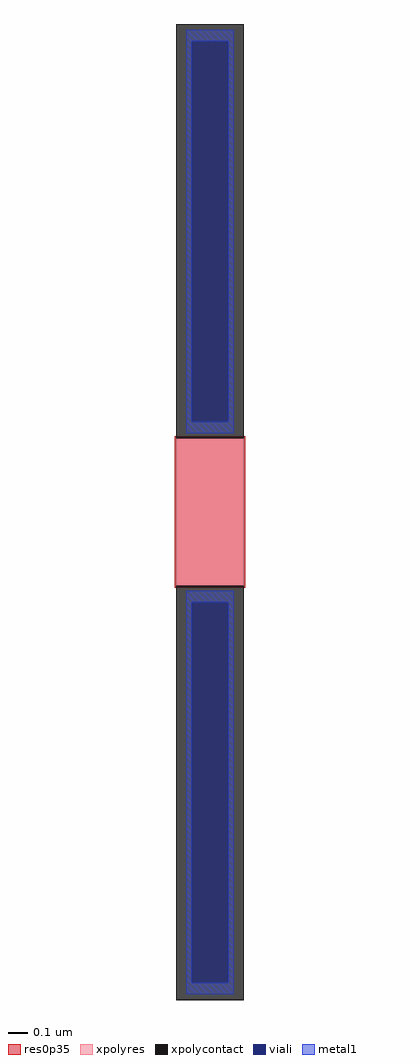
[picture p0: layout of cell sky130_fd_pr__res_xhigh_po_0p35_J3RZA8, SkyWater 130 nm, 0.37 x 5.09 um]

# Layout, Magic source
magic
tech sky130A
magscale 1 2
<< xpolycontact >>
rect -35 77 35 509
rect -35 -509 35 -77
<< xpolyres >>
rect -35 -77 35 77
<< viali >>
rect -19 94 19 491
rect -19 -491 19 -94
<< metal1 >>
rect -25 491 25 503
rect -25 94 -19 491
rect 19 94 25 491
rect -25 82 25 94
rect -25 -94 25 -82
rect -25 -491 -19 -94
rect 19 -491 25 -94
rect -25 -503 25 -491
<< res0p35 >>
rect -37 -79 37 79
<< properties >>
string gencell sky130_fd_pr__res_xhigh_po_0p35
string parameters w 0.350 l 0.77 m 1 nx 1 wmin 0.350 lmin 0.50 rho 2000 val 5.085k dummy 0 dw 0.0 term 120 sterm 0.0 caplen 0 wmax 0.350 guard 0 glc 0 grc 0 gtc 0 gbc 0 compatible {sky130_fd_pr__res_xhigh_po_0p35  sky130_fd_pr__res_xhigh_po_0p69 sky130_fd_pr__res_xhigh_po_1p41  sky130_fd_pr__res_xhigh_po_2p85 sky130_fd_pr__res_xhigh_po_5p73} full_metal 0 vias 1 viagb 0 viagt 0 viagl 0 viagr 0
string library sky130
<< end >>
